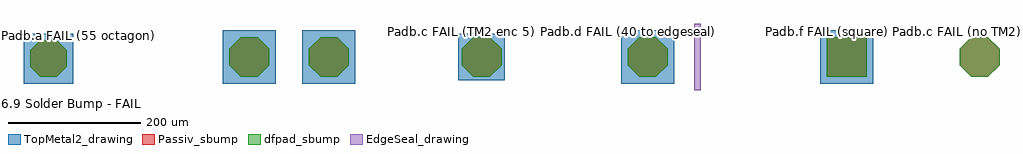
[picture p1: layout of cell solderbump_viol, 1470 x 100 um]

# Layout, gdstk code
import gdstk
lib = gdstk.Library(unit=1e-6, precision=1e-09)
def R(c, l, rs):  # rectangles x0, y0, x1, y1
    for r in rs: c.add(gdstk.rectangle(r[:2], r[2:], *l))
def P(c, l, *ps):  # polygons
    for p in ps: c.add(gdstk.Polygon(p, *l))
Passiv_sbump = (9, 36)
EdgeSeal_drawing = (39, 0)
dfpad_sbump = (41, 36)
TopMetal2_drawing = (134, 0)

solderbump_viol = lib.new_cell('solderbump_viol')
R(solderbump_viol, Passiv_sbump, [(1200,0,1260,60)])
P(solderbump_viol, Passiv_sbump, [(15,0),(0,15),(0,40),(15,55),(40,55),(55,40),(55,15),(40,0)],
  [(317.5,0),(300,17.5),(300,42.5),(317.5,60),(342.5,60),(360,42.5),(360,17.5),(342.5,0)],
  [(437.5,0),(420,17.5),(420,42.5),(437.5,60),(462.5,60),(480,42.5),(480,17.5),(462.5,0)],
  [(667.5,0),(650,17.5),(650,42.5),(667.5,60),(692.5,60),(710,42.5),(710,17.5),(692.5,0)],
  [(917.5,0),(900,17.5),(900,42.5),(917.5,60),(942.5,60),(960,42.5),(960,17.5),(942.5,0)],
  [(1417.5,0),(1400,17.5),(1400,42.5),(1417.5,60),(1442.5,60),(1460,42.5),(1460,17.5),(1442.5,0)])
R(solderbump_viol, EdgeSeal_drawing, [(1000,-20,1010,80)])
R(solderbump_viol, dfpad_sbump, [(1200,0,1260,60)])
P(solderbump_viol, dfpad_sbump, [(15,0),(0,15),(0,40),(15,55),(40,55),(55,40),(55,15),(40,0)],
  [(317.5,0),(300,17.5),(300,42.5),(317.5,60),(342.5,60),(360,42.5),(360,17.5),(342.5,0)],
  [(437.5,0),(420,17.5),(420,42.5),(437.5,60),(462.5,60),(480,42.5),(480,17.5),(462.5,0)],
  [(667.5,0),(650,17.5),(650,42.5),(667.5,60),(692.5,60),(710,42.5),(710,17.5),(692.5,0)],
  [(917.5,0),(900,17.5),(900,42.5),(917.5,60),(942.5,60),(960,42.5),(960,17.5),(942.5,0)],
  [(1417.5,0),(1400,17.5),(1400,42.5),(1417.5,60),(1442.5,60),(1460,42.5),(1460,17.5),(1442.5,0)])
R(solderbump_viol, TopMetal2_drawing, [(-10,-10,65,65), (290,-10,370,70), (410,-10,490,70), (890,-10,970,70), (1190,-10,1270,70), (645,-5,715,65)])
solderbump_viol.add(gdstk.Label('6.9 Solder Bump - FAIL', (0,-40), layer=63, texttype=0))
solderbump_viol.add(gdstk.Label('Padb.a FAIL (55 octagon)', (0,63), layer=63, texttype=0))
solderbump_viol.add(gdstk.Label('Padb.b FAIL (60 spaced 60)', (300,68), layer=63, texttype=0))
solderbump_viol.add(gdstk.Label('Padb.c FAIL (TM2 enc 5)', (650,68), layer=63, texttype=0))
solderbump_viol.add(gdstk.Label('Padb.d FAIL (40 to edgeseal)', (900,68), layer=63, texttype=0))
solderbump_viol.add(gdstk.Label('Padb.f FAIL (square)', (1200,68), layer=63, texttype=0))
solderbump_viol.add(gdstk.Label('Padb.c FAIL (no TM2)', (1400,68), layer=63, texttype=0))

lib.write_gds('solderbump_viol.gds')
